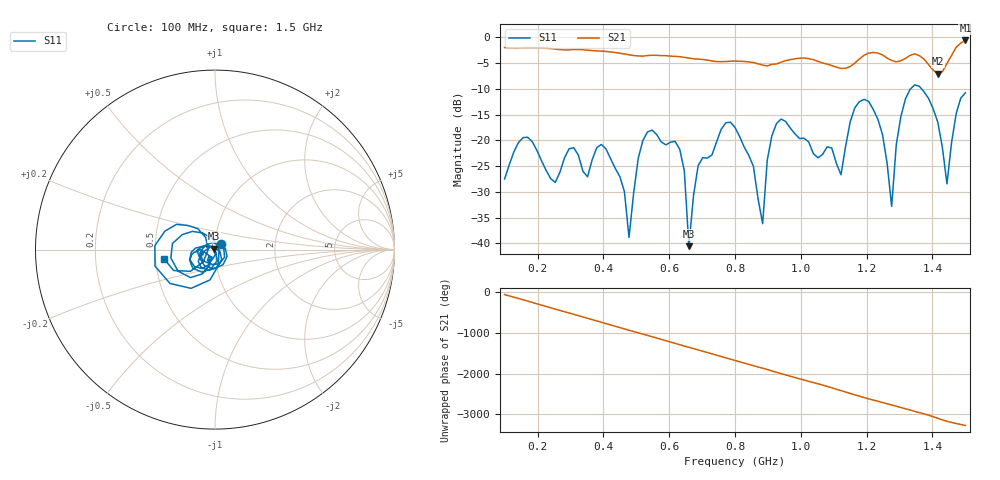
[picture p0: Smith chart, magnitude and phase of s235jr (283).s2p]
! NanoVNA-App
! Date: 2025-09-25 15:06:22
! Start: 100MHz Stop: 1,5GHz Points: 101
! S-Parameter data: F S11 S21 S12 S22
# Hz S RI R 50
!  Frequency  S11_Real  S11_Imag  S21_Real  S21_Imag  S12_Real  S12_Imag  S22_Real  S22_Imag
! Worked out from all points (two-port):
!   101 points, 100 MHz to 1.5 GHz, reference 50 ohm
!   highest |S21| = -0.58 dB at 1.5 GHz (marker M1); lowest = -7.0 dB at 1.416 GHz (marker M2)
!   |S21| within 3 dB of the highest: start of sweep to 506.5 MHz; 525.7 MHz to 597.4 MHz (71.7 MHz wide, 12.8 % of centre) (the widest 2 of 5)
!   lowest |S11| = -40.5 dB at 660 MHz (marker M3), VSWR 1.02, Z = 49.3 + j0.568 ohm
!   |S11| at or under -10 dB: start of sweep to 1.333 GHz; 1.367 GHz to end of sweep
!   S12 and S22 are empty: the file has one direction only
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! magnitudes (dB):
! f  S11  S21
! 100 MHz  -27.5  -2.0
! 156 MHz  -19.5  -2.1
! 338 MHz  -26.0  -2.4
! 408 MHz  -21.6  -2.7
! 478 MHz  -38.8  -3.4
! 520 MHz  -20.0  -3.6
! 576 MHz  -20.3  -3.5
! 632 MHz  -21.7  -3.7
! 660 MHz  -40.5  -4.0
! 688 MHz  -24.9  -4.2
! 800 MHz  -17.5  -4.6
! 884 MHz  -36.2  -5.4
! 926 MHz  -16.7  -5.2
! 1.038 GHz  -22.6  -4.3
! 1.122 GHz  -26.7  -6.0
! 1.206 GHz  -12.4  -3.0
! 1.276 GHz  -32.8  -4.5
! 1.29 GHz  -20.8  -4.7
! 1.332 GHz  -10.1  -3.5
! 1.416 GHz  -16.4  -7.0
! 1.444 GHz  -28.4  -5.1
! 1.5 GHz  -10.8  -0.6
